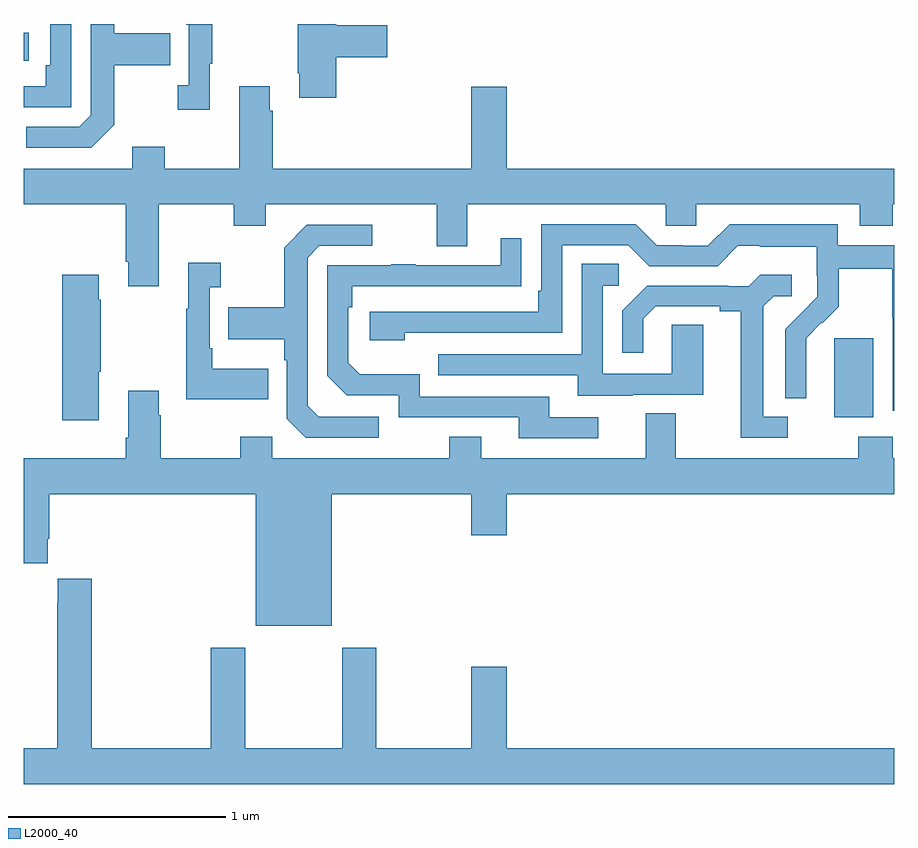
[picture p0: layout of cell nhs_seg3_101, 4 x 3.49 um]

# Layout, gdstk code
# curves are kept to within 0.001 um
import gdstk
lib = gdstk.Library(unit=1e-6, precision=1e-09)
def R(c, l, rs):  # rectangles x0, y0, x1, y1
    for r in rs: c.add(gdstk.rectangle(r[:2], r[2:], *l))
def P(c, l, *ps):  # polygons
    for p in ps: c.add(gdstk.Polygon(p, *l))
L2000_40 = (2000, 40)

nhs_seg3_101 = lib.new_cell('nhs_seg3_101')
R(nhs_seg3_101, L2000_40, [(118.724,710.594,118.903,710.955), (115,712.23,115.024,712.36)])
P(nhs_seg3_101, L2000_40, [(115.855,712.217),(115.867,712.217),(115.867,712.4),(115.746,712.4),(115.746,712.397),(115.758,712.397),(115.758,712.118),(115.707,712.118),(115.707,712.005),(115.855,712.005)],
  [(116.435,712.247),(116.671,712.247),(116.671,712.394),(116.435,712.394),(116.435,712.4),(116.26,712.4),(116.26,712.174),(116.267,712.174),(116.267,712.062),(116.435,712.062)],
  [(115.417,711.937),(115.417,712.21),(115.673,712.21),(115.673,712.357),(115.417,712.357),(115.417,712.4),(115.308,712.4),(115.308,711.981),(115.254,711.927),(115.011,711.927),(115.011,711.831),(115.311,711.831)],
  [(115.218,712.4),(115.122,712.4),(115.122,712.21),(115.102,712.21),(115.102,712.113),(115,712.113),(115,712.017),(115.218,712.017)],
  [(115.621,711.572),(115.966,711.572),(115.966,711.473),(116.113,711.473),(116.113,711.572),(116.897,711.572),(116.897,711.378),(117.037,711.378),(117.037,711.572),(117.951,711.572),(117.951,711.474),(118.089,711.474),(118.089,711.572),(118.841,711.572),(118.841,711.473),(118.994,711.473),(118.994,711.572),(119,711.572),(119,711.736),(117.22,711.736),(117.22,712.111),(117.056,712.111),(117.056,711.736),(116.144,711.736),(116.144,712.001),(116.131,712.001),(116.131,712.114),(115.991,712.114),(115.991,711.736),(115.647,711.736),(115.647,711.835),(115.499,711.835),(115.499,711.736),(115,711.736),(115,711.572),(115.469,711.572),(115.469,711.307),(115.481,711.307),(115.481,711.195),(115.621,711.195)],
  [(119,711.384),(118.74,711.384),(118.74,711.481),(118.243,711.481),(118.143,711.381),(118.028,711.381),(118.028,711.384),(117.909,711.384),(117.813,711.48),(117.378,711.48),(117.378,711.175),(117.365,711.175),(117.365,711.078),(116.589,711.078),(116.589,710.948),(116.75,710.948),(116.75,710.982),(117.474,710.982),(117.474,711.384),(117.777,711.384),(117.873,711.288),(118.188,711.288),(118.281,711.381),(118.381,711.381),(118.381,711.377),(118.644,711.377),(118.644,711.243),(118.646,711.243),(118.646,711.146),(118.5,710.998),(118.5,710.68),(118.596,710.68),(118.595,710.957),(118.665,711.027),(118.668,711.024),(118.745,711.101),(118.745,711.276),(118.99,711.276),(118.99,711.052),(118.992,711.052),(118.992,710.623),(119,710.623)],
  [(116.632,710.595),(116.355,710.595),(116.304,710.646),(116.304,711.327),(116.358,711.381),(116.602,711.381),(116.602,711.477),(116.301,711.477),(116.196,711.371),(116.196,711.099),(115.939,711.099),(115.939,710.951),(116.196,710.951),(116.196,710.855),(116.208,710.855),(116.208,710.586),(116.295,710.499),(116.632,710.499)],
  [(117.64,710.592),(117.415,710.592),(117.415,710.688),(116.82,710.688),(116.82,710.791),(116.543,710.791),(116.49,710.844),(116.49,711.098),(116.51,711.098),(116.51,711.195),(117.287,711.196),(117.287,711.415),(117.191,711.415),(117.191,711.291),(116.801,711.291),(116.801,711.296),(116.689,711.296),(116.689,711.291),(116.394,711.291),(116.394,710.784),(116.484,710.694),(116.724,710.694),(116.724,710.592),(117.275,710.592),(117.275,710.496),(117.64,710.496)],
  [(116.123,710.815),(115.867,710.815),(115.867,710.911),(115.854,710.911),(115.854,711.191),(115.906,711.191),(115.906,711.304),(115.757,711.304),(115.757,711.091),(115.746,711.091),(115.746,710.675),(116.123,710.675)],
  [(117.799,710.697),(118.123,710.697),(118.123,711.017),(117.978,711.017),(117.978,710.793),(117.66,710.793),(117.66,711.198),(117.733,711.198),(117.733,711.299),(117.564,711.299),(117.564,710.883),(116.905,710.883),(116.905,710.787),(117.545,710.787),(117.545,710.693),(117.799,710.693)],
  [(115.345,710.803),(115.353,710.803),(115.353,711.134),(115.345,711.134),(115.345,711.247),(115.178,711.247),(115.178,710.58),(115.345,710.58)],
  [(118.51,710.595),(118.399,710.595),(118.399,711.103),(118.446,711.15),(118.528,711.15),(118.528,711.247),(118.384,711.247),(118.332,711.195),(118.238,711.195),(118.238,711.198),(117.866,711.198),(117.75,711.082),(117.75,710.889),(117.847,710.889),(117.847,711.045),(117.904,711.102),(118.199,711.102),(118.199,711.08),(118.295,711.08),(118.295,710.499),(118.51,710.499)],
  [(116.416,710.24),(117.056,710.24),(117.056,710.052),(117.22,710.052),(117.22,710.24),(119,710.24),(119,710.404),(118.994,710.404),(118.994,710.503),(118.834,710.503),(118.834,710.404),(117.997,710.404),(117.997,710.612),(117.857,710.612),(117.857,710.404),(117.103,710.404),(117.103,710.503),(116.956,710.503),(116.956,710.404),(116.142,710.404),(116.142,710.503),(115.996,710.503),(115.996,710.404),(115.629,710.404),(115.629,710.603),(115.621,710.603),(115.621,710.716),(115.481,710.716),(115.481,710.5),(115.469,710.5),(115.469,710.404),(115,710.404),(115,709.923),(115.111,709.923),(115.111,710.035),(115.118,710.035),(115.118,710.24),(116.066,710.24),(116.066,709.634),(116.416,709.634)],
  [(119,709.072),(117.22,709.072),(117.22,709.447),(117.056,709.447),(117.056,709.072),(116.619,709.072),(116.619,709.534),(116.464,709.534),(116.464,709.072),(116.019,709.072),(116.019,709.534),(115.859,709.534),(115.859,709.072),(115.313,709.072),(115.313,709.852),(115.157,709.852),(115.157,709.739),(115.153,709.739),(115.153,709.072),(115,709.072),(115,708.908),(119,708.908)])

lib.write_gds('nhs_seg3_101.gds')
